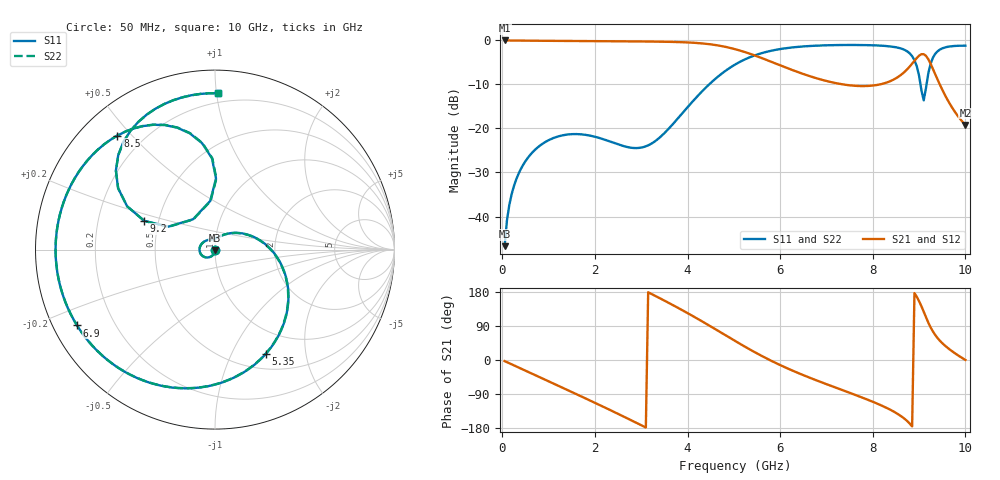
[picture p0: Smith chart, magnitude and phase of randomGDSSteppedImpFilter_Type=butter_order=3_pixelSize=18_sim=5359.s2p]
! freq	dB(S11)	phase(S11)	dB(S12)	phase(S12)
!  dB(S21)	phase(S21)	dB(S22)	phase(S22)
!S-par simulation data
#  GHz  S  DB  R 50
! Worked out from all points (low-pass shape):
!   200 points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, 50 MHz to 10 GHz, reference 50 ohm
!   highest |S21| = -0.01 dB at 50 MHz (marker M1); lowest = -19.2 dB at 10 GHz (marker M2)
!   |S21| within 3 dB of the highest: start of sweep to 5.342 GHz
!   lowest |S11| = -46.7 dB at 50 MHz (marker M3), VSWR 1.01, Z = 50 - j0.46 ohm
!   |S11| at or under -10 dB: start of sweep to 4.466 GHz; 9.03 GHz to 9.161 GHz (131.3 MHz wide, 1.44 % of centre)
!   |S22| runs from -46.7 to -1.0 dB; largest |S21 - S12| = 0
!   S11 on the Smith chart (normalised r, x): 50 MHz: 1.00, -0.01; 5.35 GHz: 0.69, -1.37; 6.9 GHz: 0.07, -0.26; 8.5 GHz: 0.11, +0.46; 9.2 GHz: 0.42, +0.16; 10 GHz: 0.14, +1.01
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0.05  -46.74 -87.6  -0.01 -2.9  -0.01 -2.9  -46.74 -87.6
0.2  -35.02 -100.1  -0.02 -11.3  -0.02 -11.3  -35.02 -100.1
0.5  -27.43 -118.3  -0.05 -28.2  -0.05 -28.2  -27.43 -118.3
1.15  -22.00 -155.7  -0.11 -64.6  -0.11 -64.6  -22.00 -155.6
1.75  -21.38 170.0  -0.15 -98.6  -0.15 -98.6  -21.39 170.1
2.65  -24.09 116.6  -0.20 -151.0  -0.20 -151.0  -24.09 116.7
3.4  -22.05 70.0  -0.28 163.1  -0.28 163.1  -22.05 69.7
4.3  -11.72 10.9  -0.66 103.0  -0.66 103.0  -11.72 10.6
5.05  -5.34 -42.9  -2.05 48.6  -2.05 48.6  -5.34 -43.2
5.35  -3.80 -63.9  -3.03 27.5  -3.03 27.5  -3.80 -64.2
6  -1.96 -104.7  -5.65 -13.4  -5.65 -13.4  -1.96 -105.0
6.7  -1.23 -141.6  -8.32 -49.7  -8.32 -49.7  -1.23 -141.8
6.9  -1.14 -151.2  -8.94 -59.2  -8.94 -59.2  -1.14 -151.4
7.65  -1.03 174.2  -10.33 -93.4  -10.33 -93.4  -1.03 174.0
8.35  -1.33 139.5  -9.37 -129.5  -9.37 -129.5  -1.33 139.3
8.5  -1.55 130.5  -8.60 -139.4  -8.60 -139.4  -1.55 130.4
8.8  -2.96 107.2  -5.90 -168.1  -5.90 -168.1  -2.96 107.0
9  -8.03 89.2  -3.46 155.2  -3.46 155.2  -8.05 88.9
9.1  -13.62 125.8  -3.12 127.4  -3.12 127.4  -13.68 125.7
9.2  -7.43 157.9  -4.28 98.4  -4.28 98.4  -7.44 157.9
9.4  -2.46 135.7  -8.91 57.8  -8.91 57.8  -2.46 135.6
10  -1.20 88.8  -19.19 0.2  -19.19 0.2  -1.19 88.8
